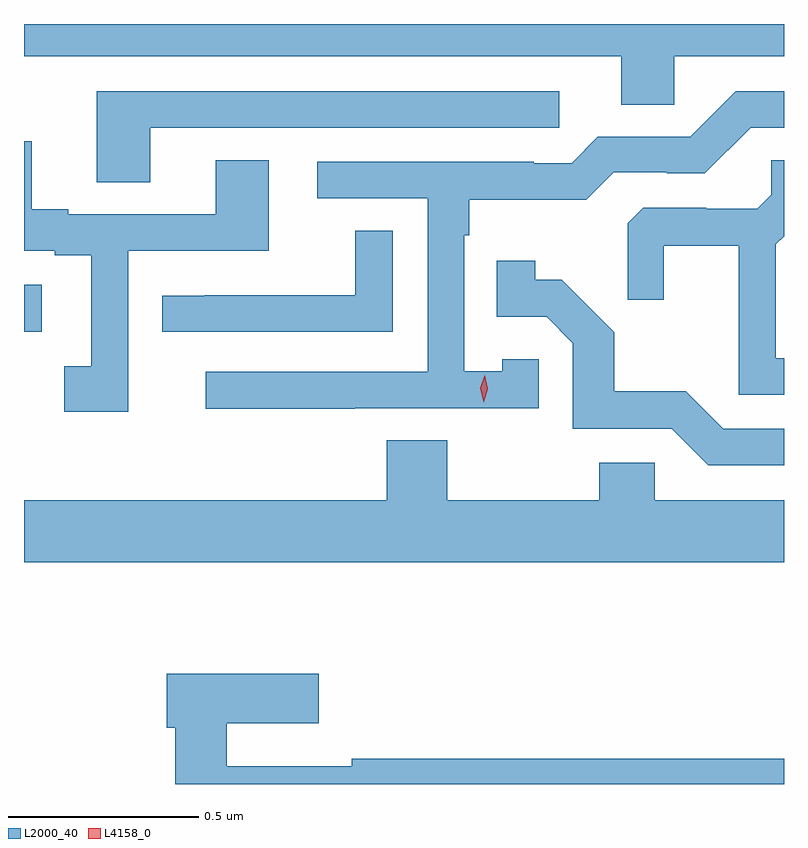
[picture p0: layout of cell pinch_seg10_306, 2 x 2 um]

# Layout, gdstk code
import gdstk
lib = gdstk.Library(unit=1e-6, precision=1e-09)
def R(c, l, rs):  # rectangles x0, y0, x1, y1
    for r in rs: c.add(gdstk.rectangle(r[:2], r[2:], *l))
def P(c, l, *ps):  # polygons
    for p in ps: c.add(gdstk.Polygon(p, *l))
L2000_40 = (2000, 40)
L4158_0 = (4158, 0)

pinch_seg10_306 = lib.new_cell('pinch_seg10_306')
R(pinch_seg10_306, L2000_40, [(491.963,1288.935,492.01,1289.059)])
P(pinch_seg10_306, L2000_40, [(493.674,1289.66),(493.963,1289.66),(493.963,1289.745),(491.963,1289.745),(491.963,1289.66),(493.535,1289.66),(493.535,1289.533),(493.674,1289.533)],
  [(492.295,1289.472),(493.372,1289.472),(493.372,1289.568),(492.155,1289.568),(492.155,1289.329),(492.295,1289.329)],
  [(492.833,1288.734),(493.317,1288.734),(493.317,1288.863),(493.221,1288.863),(493.221,1288.831),(493.122,1288.831),(493.122,1289.189),(493.135,1289.189),(493.135,1289.282),(493.442,1289.282),(493.515,1289.355),(493.654,1289.355),(493.654,1289.352),(493.755,1289.352),(493.875,1289.472),(493.963,1289.472),(493.963,1289.568),(493.836,1289.568),(493.716,1289.448),(493.473,1289.448),(493.404,1289.379),(493.304,1289.379),(493.304,1289.382),(492.735,1289.382),(492.735,1289.286),(493.026,1289.286),(493.026,1288.83),(492.441,1288.83),(492.441,1288.732),(492.833,1288.732)],
  [(492.237,1289.148),(492.607,1289.148),(492.607,1289.387),(492.467,1289.387),(492.467,1289.244),(492.079,1289.244),(492.079,1289.257),(491.983,1289.257),(491.983,1289.437),(491.963,1289.437),(491.963,1289.148),(492.044,1289.148),(492.044,1289.136),(492.14,1289.136),(492.14,1288.845),(492.069,1288.845),(492.069,1288.725),(492.237,1288.725)],
  [(493.963,1288.866),(493.941,1288.866),(493.941,1289.165),(493.963,1289.187),(493.963,1289.387),(493.929,1289.387),(493.929,1289.296),(493.892,1289.259),(493.758,1289.259),(493.758,1289.262),(493.593,1289.262),(493.552,1289.221),(493.552,1289.019),(493.646,1289.019),(493.646,1289.162),(493.844,1289.162),(493.844,1288.77),(493.963,1288.77)],
  [(492.933,1289.201),(492.835,1289.201),(492.835,1289.031),(492.439,1289.031),(492.439,1289.03),(492.327,1289.03),(492.327,1288.935),(492.933,1288.935)],
  [(493.963,1288.68),(493.803,1288.68),(493.705,1288.779),(493.516,1288.779),(493.516,1288.934),(493.378,1289.072),(493.308,1289.072),(493.308,1289.122),(493.207,1289.122),(493.207,1288.974),(493.338,1288.974),(493.407,1288.905),(493.407,1288.68),(493.668,1288.68),(493.764,1288.584),(493.963,1288.584)],
  [(493.963,1288.492),(493.623,1288.492),(493.623,1288.59),(493.477,1288.59),(493.477,1288.492),(493.077,1288.492),(493.077,1288.649),(492.917,1288.649),(492.917,1288.492),(491.963,1288.492),(491.963,1288.328),(493.963,1288.328)],
  [(493.963,1287.812),(492.826,1287.812),(492.826,1287.792),(492.497,1287.792),(492.497,1287.905),(492.739,1287.905),(492.739,1288.035),(492.338,1288.035),(492.338,1287.893),(492.361,1287.893),(492.361,1287.745),(493.963,1287.745)])
P(pinch_seg10_306, L4158_0, [(493.173,1288.749),(493.173,1288.749),(493.164,1288.786),(493.175,1288.821),(493.175,1288.821),(493.176,1288.821),(493.184,1288.785),(493.173,1288.749)])

lib.write_gds('pinch_seg10_306.gds')
